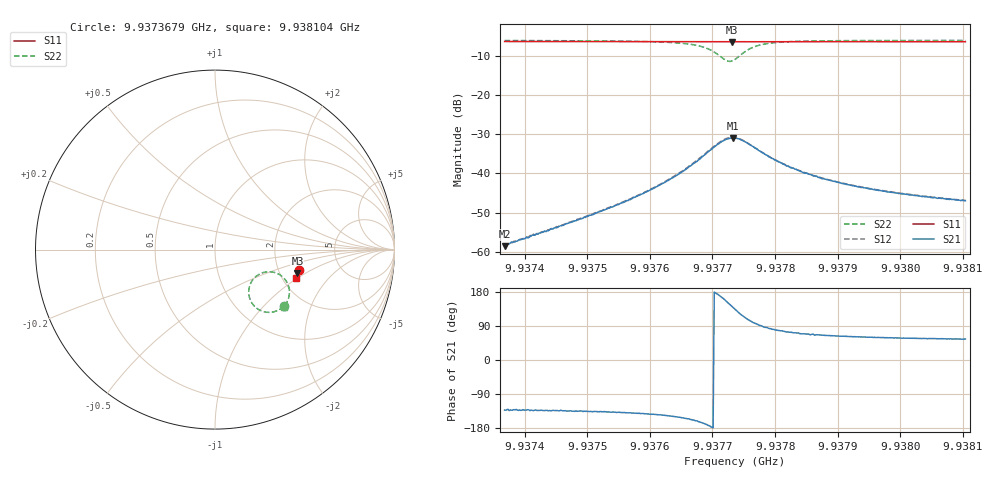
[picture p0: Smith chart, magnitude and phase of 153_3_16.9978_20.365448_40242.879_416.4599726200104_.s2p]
#  HZ  S  RI  R  50.00
! Rohde & Schwarz Vector Network Analyzer
! Rohde-Schwarz,ZNB20-2Port,1311601062101988,3.16
! Created: UTC 3/20/2024, 10:58:56 PM
! freq[Hz]  re:S11  im:S11  re:S21  im:S21  re:S12  im:S12  re:S22  im:S22
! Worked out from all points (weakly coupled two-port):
!   401 points, 9.9373679 GHz to 9.938104 GHz, reference 50 ohm
!   highest |S21| = -30.93 dB at 9.9377323 GHz (marker M1); lowest = -58.6 dB at 9.9373679 GHz (marker M2)
!   lowest |S11| = -6.4 dB at 9.9377304 GHz (marker M3), VSWR 2.83, Z = 124 - j42.9 ohm
!   |S11| at or under -10 dB: nowhere
!   |S22| runs from -11.4 to -6.0 dB; largest |S21 - S12| = 0.0013
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9.93736786e9  0.4703 -0.1109  -0.000791 -0.000876  -0.000825 -0.000889  0.3841 -0.3158
9.93749117e9  0.4677 -0.1193  -0.00186 -0.00188  -0.00193 -0.00189  0.3684 -0.3282
9.93756847e9  0.4657 -0.1246  -0.00351 -0.00303  -0.00367 -0.003  0.3498 -0.3389
9.93761448e9  0.4645 -0.1276  -0.00573 -0.00404  -0.00591 -0.00401  0.3288 -0.3464
9.93765497e9  0.4633 -0.1305  -0.00984 -0.00487  -0.0101 -0.00483  0.2926 -0.3494
9.9376881e9  0.4615 -0.1326  -0.0171 -0.00335  -0.0175 -0.00305  0.2347 -0.3282
9.93770098e9  0.4606 -0.1332  -0.0212 -0.000276  -0.0218 0.000229  0.2057 -0.2975
9.93771386e9  0.46 -0.1333  -0.0244 0.00591  -0.0249 0.00683  0.1881 -0.2419
9.93772306e9  0.4595 -0.1332  -0.0246 0.0123  -0.0247 0.0134  0.1975 -0.1911
9.93773043e9  0.4593 -0.133  -0.0225 0.0173  -0.0223 0.0184  0.2233 -0.1541
9.93773227e9  0.4595 -0.1329  -0.0216 0.0185  -0.0212 0.0197  0.2319 -0.1467
9.93773595e9  0.4596 -0.133  -0.0195 0.0204  -0.019 0.0216  0.2511 -0.135
9.93774515e9  0.4601 -0.1332  -0.0137 0.0233  -0.013 0.0239  0.3018 -0.1232
9.93775803e9  0.4605 -0.1339  -0.00629 0.023  -0.00556 0.0232  0.3586 -0.1389
9.93777828e9  0.4609 -0.1354  -4.55e-05 0.0187  0.000518 0.0189  0.401 -0.1828
9.93779484e9  0.4609 -0.1369  0.00242 0.0154  0.00272 0.0154  0.4117 -0.2122
9.93782061e9  0.4606 -0.139  0.00338 0.0121  0.00357 0.0119  0.4147 -0.2431
9.93785926e9  0.4597 -0.1418  0.00356 0.00881  0.00388 0.00875  0.4099 -0.2699
9.93791631e9  0.4584 -0.146  0.00338 0.00637  0.00351 0.00638  0.4018 -0.2907
9.93798257e9  0.4567 -0.1502  0.003 0.00495  0.00315 0.00497  0.3934 -0.3044
9.9380341e9  0.4553 -0.1536  0.00281 0.00424  0.00289 0.00429  0.3884 -0.3119
9.93810404e9  0.4535 -0.1581  0.00255 0.0037  0.00264 0.0037  0.3822 -0.3197
